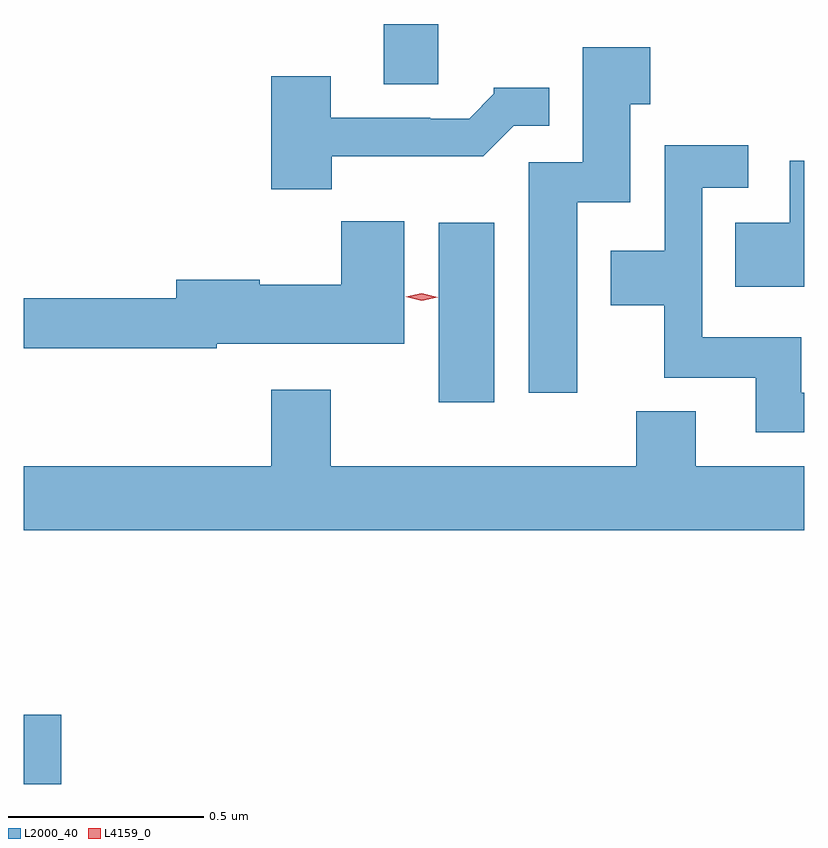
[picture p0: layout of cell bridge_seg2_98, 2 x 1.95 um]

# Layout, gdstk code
import gdstk
lib = gdstk.Library(unit=1e-6, precision=1e-09)
def R(c, l, rs):  # rectangles x0, y0, x1, y1
    for r in rs: c.add(gdstk.rectangle(r[:2], r[2:], *l))
def P(c, l, *ps):  # polygons
    for p in ps: c.add(gdstk.Polygon(p, *l))
L2000_40 = (2000, 40)
L4159_0 = (4159, 0)

bridge_seg2_98 = lib.new_cell('bridge_seg2_98')
R(bridge_seg2_98, L2000_40, [(317.023,605.693,317.119,605.871), (318.086,606.672,318.229,607.132), (317.945,607.486,318.085,607.641)])
P(bridge_seg2_98, L2000_40, [(318.442,607.184),(318.577,607.184),(318.577,607.435),(318.629,607.435),(318.629,607.582),(318.455,607.582),(318.455,607.287),(318.317,607.287),(318.317,606.696),(318.442,606.696)],
  [(317.812,607.302),(318.201,607.302),(318.279,607.38),(318.37,607.38),(318.37,607.477),(318.228,607.477),(318.228,607.462),(318.164,607.398),(318.065,607.398),(318.065,607.401),(317.809,607.401),(317.809,607.507),(317.657,607.507),(317.657,607.217),(317.812,607.217)],
  [(319.023,606.696),(319.015,606.696),(319.015,606.838),(318.762,606.838),(318.762,607.221),(318.88,607.221),(318.88,607.33),(318.666,607.33),(318.666,607.06),(318.527,607.06),(318.527,606.92),(318.664,606.92),(318.664,606.734),(318.899,606.734),(318.899,606.594),(319.023,606.594)],
  [(319.023,607.29),(318.986,607.29),(318.986,607.132),(318.847,607.132),(318.847,606.968),(319.023,606.968)],
  [(317.518,606.821),(317.998,606.821),(317.998,607.135),(317.836,607.135),(317.836,606.973),(317.628,606.973),(317.628,606.986),(317.414,606.986),(317.414,606.938),(317.023,606.938),(317.023,606.81),(317.518,606.81)],
  [(319.023,606.508),(318.745,606.508),(318.745,606.649),(318.593,606.649),(318.593,606.508),(317.809,606.508),(317.809,606.703),(317.657,606.703),(317.657,606.508),(317.023,606.508),(317.023,606.344),(319.023,606.344)])
P(bridge_seg2_98, L4159_0, [(318.043,606.932),(318.002,606.942),(318.002,606.942),(318.002,606.942),(318.043,606.951),(318.084,606.941),(318.084,606.941),(318.084,606.941)])

lib.write_gds('bridge_seg2_98.gds')
